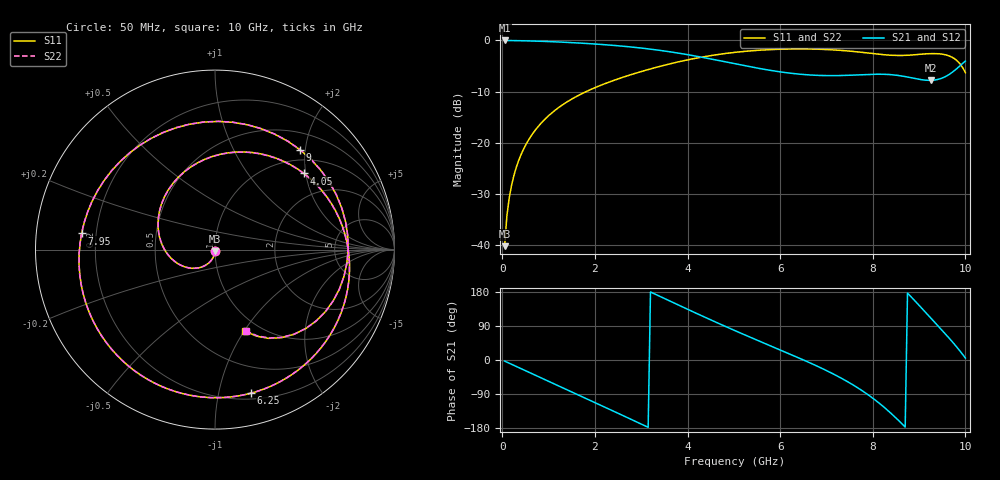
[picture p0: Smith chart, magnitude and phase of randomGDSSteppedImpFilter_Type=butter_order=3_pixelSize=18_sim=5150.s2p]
! freq	dB(S11)	phase(S11)	dB(S12)	phase(S12)
!  dB(S21)	phase(S21)	dB(S22)	phase(S22)
!S-par simulation data
#  GHz  S  DB  R 50
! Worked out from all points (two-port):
!   200 points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, 50 MHz to 10 GHz, reference 50 ohm
!   highest |S21| = 0.00 dB at 50 MHz (marker M1); lowest = -7.8 dB at 9.25 GHz (marker M2)
!   |S21| within 3 dB of the highest: start of sweep to 4.14 GHz
!   lowest |S11| = -40.2 dB at 50 MHz (marker M3), VSWR 1.02, Z = 49.9 - j0.971 ohm
!   |S11| at or under -10 dB: start of sweep to 1.812 GHz
!   |S22| runs from -40.2 to -1.7 dB; largest |S21 - S12| = 0
!   S11 on the Smith chart (normalised r, x): 50 MHz: 1.00, -0.02; 4.05 GHz: 1.32, +1.95; 6.25 GHz: 0.25, -1.25; 7.95 GHz: 0.14, +0.06; 9 GHz: 0.79, +1.90; 10 GHz: 0.85, -1.01
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0.05  -40.23 -92.8  -0.00 -2.9  -0.00 -2.9  -40.23 -92.8
0.1  -34.26 -95.7  -0.01 -5.7  -0.01 -5.7  -34.26 -95.7
0.2  -28.33 -101.5  -0.02 -11.3  -0.02 -11.3  -28.33 -101.5
0.5  -20.53 -118.7  -0.08 -28.2  -0.08 -28.2  -20.53 -118.7
1.15  -13.58 -155.3  -0.28 -64.6  -0.28 -64.6  -13.59 -155.5
1.75  -10.27 171.0  -0.56 -98.3  -0.56 -98.3  -10.27 170.7
2.65  -7.07 120.1  -1.17 -149.1  -1.17 -149.1  -7.07 119.8
3.4  -5.08 77.4  -1.94 168.1  -1.94 168.1  -5.08 77.0
4.05  -3.71 40.6  -2.86 131.1  -2.86 131.1  -3.71 40.2
5.05  -2.30 -13.9  -4.61 76.1  -4.61 76.1  -2.31 -14.2
5.6  -1.89 -42.5  -5.56 47.2  -5.56 47.2  -1.89 -42.8
6.25  -1.67 -75.9  -6.44 13.5  -6.44 13.5  -1.67 -76.2
6.7  -1.69 -100.0  -6.79 -10.6  -6.79 -10.6  -1.69 -100.3
7.3  -1.94 -136.2  -6.86 -46.7  -6.86 -46.7  -1.94 -136.5
7.95  -2.51 173.1  -6.63 -96.2  -6.63 -96.2  -2.51 172.8
8.35  -2.87 131.6  -6.67 -135.9  -6.67 -135.9  -2.87 131.4
8.7  -2.92 88.7  -7.07 -177.0  -7.07 -177.0  -2.91 88.5
9  -2.73 49.6  -7.60 144.3  -7.60 144.3  -2.72 49.7
9.25  -2.58 18.0  -7.80 111.1  -7.80 111.1  -2.57 18.1
9.45  -2.63 -6.1  -7.51 84.5  -7.51 84.5  -2.63 -5.9
9.7  -3.23 -35.3  -6.34 50.6  -6.34 50.6  -3.22 -35.0
10  -6.31 -69.8  -4.03 5.1  -4.03 5.1  -6.27 -69.0
